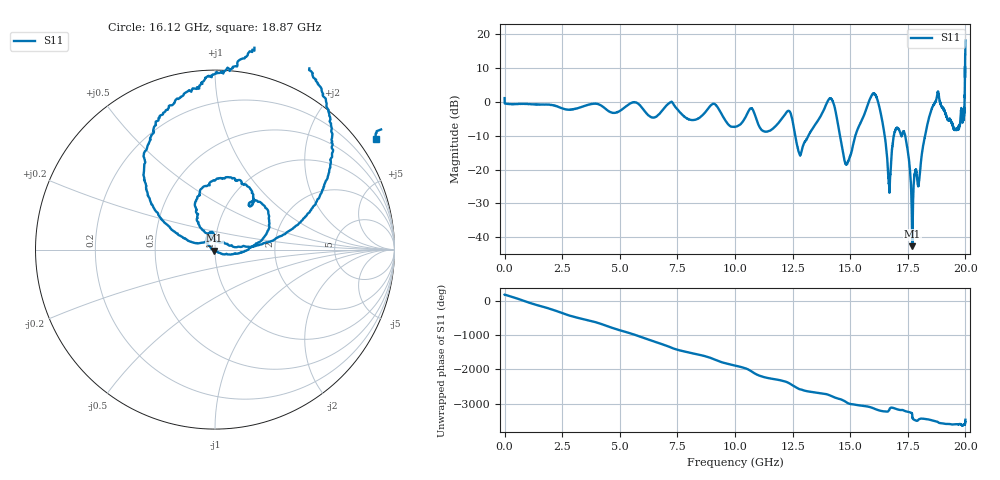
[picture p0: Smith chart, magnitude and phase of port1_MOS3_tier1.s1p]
! Created with skrf 1.8.0 (http://scikit-rf.org).
# GHz S RI R 50.0
!freq ReS11 ImS11
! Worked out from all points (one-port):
!   10001 points, 1 MHz to 20 GHz, reference 50 ohm
!   lowest |S11| = -42.6 dB at 17.7 GHz (marker M1), VSWR 1.01, Z = 49.5 - j0.577 ohm
!   |S11| at or under -10 dB: 12.62 GHz to 13.19 GHz (571.2 MHz wide, 4.43 % of centre); 14.56 GHz to 15.23 GHz (670.1 MHz wide, 4.5 % of centre); 17.39 GHz to 18.25 GHz (865.3 MHz wide, 4.86 % of centre) (the widest 3 of 5)
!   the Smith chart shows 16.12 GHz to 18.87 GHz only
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0.001  -1.127 0.0147
0.7749613  0.9092 0.175
1.19894  0.0648 -0.9134
1.678916  -0.9051 -0.0223
2.500875  0.7941 -0.0162
3.39083  -0.8383 -0.1137
3.974801  0.0157 0.9302
4.382781  0.7828 -0.035
5.00075  -0.568 -0.4545
5.620719  -0.0549 0.9778
6.340683  0.1591 -0.5757
6.894655  -0.7276 0.2828
7.500625  0.757 0.1429
8.290586  -0.2208 -0.4949
9.098545  0.004 0.9274
10.0005  -0.0149 -0.4253
10.72046  -0.0958 0.7917
11.34043  0.052 -0.3582
12.50038  0.3156 0.4074
13.43433  -0.3826 -0.209
14.19229  -0.1388 1.079
15.00025  -0.1072 -0.1178
16.0362  -0.1085 1.311
17.50013  0.1896 0.00509
17.69612  -0.00461 -0.00582
18.73606  0.1554 1.065
19.87601  0.4369 -0.3234
20  -4.869 6.3
